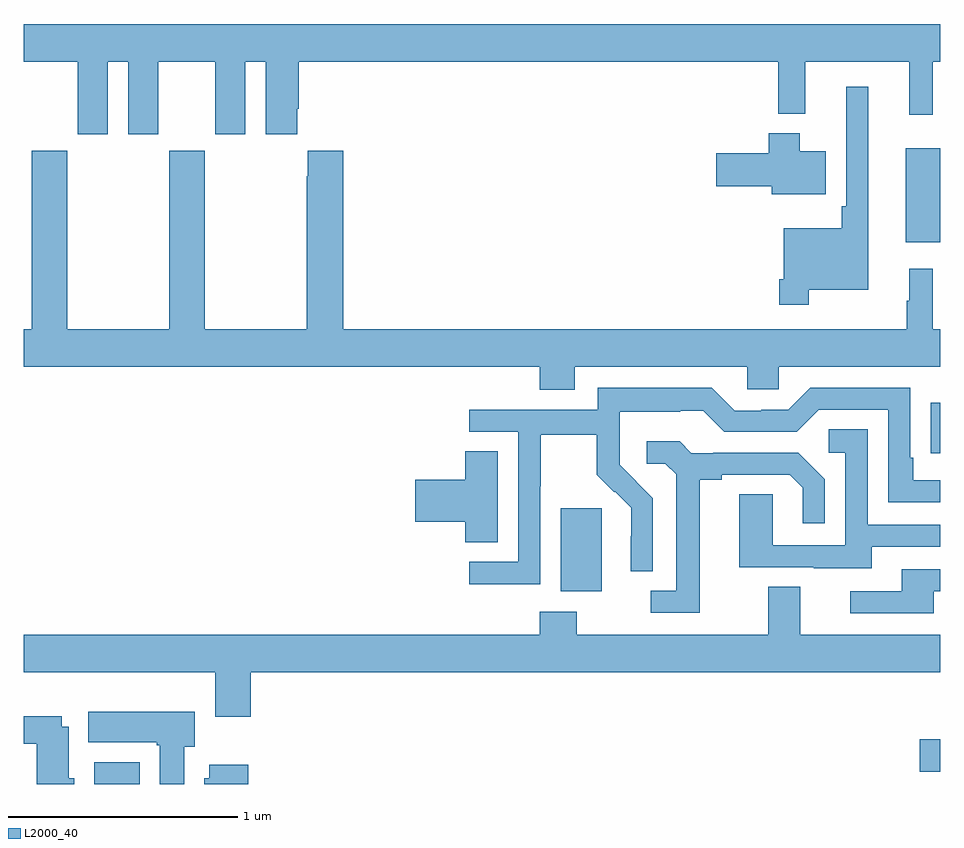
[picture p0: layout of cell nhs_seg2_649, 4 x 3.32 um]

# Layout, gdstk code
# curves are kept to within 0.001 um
import gdstk
lib = gdstk.Library(unit=1e-6, precision=1e-09)
def R(c, l, rs):  # rectangles x0, y0, x1, y1
    for r in rs: c.add(gdstk.rectangle(r[:2], r[2:], *l))
def P(c, l, *ps):  # polygons
    for p in ps: c.add(gdstk.Polygon(p, *l))
L2000_40 = (2000, 40)

nhs_seg2_649 = lib.new_cell('nhs_seg2_649')
R(nhs_seg2_649, L2000_40, [(143.309,661.8,143.506,661.894), (146.91,661.853,147,661.995), (145.343,662.642,145.522,663.003), (146.959,663.244,147,663.463), (146.849,664.163,147,664.573)])
P(nhs_seg2_649, L2000_40, [(143,664.952),(143.237,664.952),(143.237,664.635),(143.368,664.635),(143.368,664.952),(143.456,664.952),(143.456,664.635),(143.587,664.635),(143.587,664.952),(143.837,664.952),(143.837,664.635),(143.968,664.635),(143.968,664.952),(144.056,664.952),(144.056,664.635),(144.193,664.635),(144.193,664.747),(144.2,664.747),(144.2,664.952),(146.293,664.952),(146.293,664.724),(146.411,664.724),(146.411,664.952),(146.864,664.952),(146.864,664.719),(146.966,664.719),(146.966,664.952),(147,664.952),(147,665.116),(143,665.116)],
  [(146.425,663.956),(146.686,663.956),(146.686,664.843),(146.589,664.843),(146.589,664.321),(146.569,664.321),(146.569,664.225),(146.316,664.225),(146.316,664.003),(146.296,664.003),(146.296,663.891),(146.425,663.891)],
  [(146.5,664.561),(146.386,664.561),(146.386,664.639),(146.252,664.639),(146.252,664.551),(146.022,664.551),(146.022,664.409),(146.264,664.409),(146.264,664.373),(146.5,664.373)],
  [(145.405,663.62),(146.157,663.62),(146.157,663.522),(146.295,663.522),(146.295,663.62),(147,663.62),(147,663.784),(146.966,663.784),(146.966,664.048),(146.864,664.048),(146.864,663.908),(146.853,663.908),(146.853,663.784),(144.395,663.784),(144.395,664.564),(144.239,664.564),(144.239,664.451),(144.235,664.451),(144.235,663.784),(143.79,663.784),(143.79,664.564),(143.635,664.564),(143.635,663.784),(143.19,663.784),(143.19,664.564),(143.035,664.564),(143.035,663.784),(143,663.784),(143,663.62),(145.253,663.62),(145.253,663.521),(145.405,663.521)],
  [(145.254,663.1),(145.257,663.1),(145.257,663.324),(145.501,663.324),(145.501,663.149),(145.578,663.072),(145.581,663.075),(145.652,663.005),(145.652,662.882),(145.65,662.882),(145.65,662.728),(145.746,662.728),(145.746,663.046),(145.6,663.194),(145.6,663.291),(145.602,663.291),(145.602,663.425),(145.865,663.425),(145.865,663.429),(145.965,663.429),(146.058,663.336),(146.373,663.336),(146.469,663.432),(146.772,663.432),(146.772,663.03),(147,663.03),(147,663.126),(146.881,663.126),(146.881,663.223),(146.868,663.223),(146.868,663.528),(146.433,663.528),(146.337,663.432),(146.219,663.432),(146.219,663.429),(146.103,663.429),(146.003,663.529),(145.506,663.529),(145.506,663.432),(144.945,663.432),(144.945,663.336),(145.158,663.336),(145.158,662.769),(144.945,662.769),(144.945,662.671),(145.254,662.671)],
  [(146.701,662.835),(147,662.835),(147,662.931),(146.682,662.931),(146.682,663.347),(146.514,663.347),(146.514,663.246),(146.586,663.246),(146.586,662.841),(146.268,662.841),(146.268,663.065),(146.123,663.065),(146.123,662.745),(146.447,662.745),(146.447,662.741),(146.701,662.741)],
  [(145.951,663.128),(146.047,663.128),(146.047,663.15),(146.342,663.15),(146.399,663.093),(146.399,662.937),(146.496,662.937),(146.496,663.13),(146.38,663.246),(146.008,663.246),(146.008,663.243),(145.914,663.243),(145.862,663.295),(145.719,663.295),(145.719,663.198),(145.8,663.198),(145.847,663.151),(145.847,662.643),(145.737,662.643),(145.737,662.547),(145.951,662.547)],
  [(145.069,663.251),(144.926,663.251),(144.926,663.128),(144.708,663.128),(144.708,662.945),(144.926,662.945),(144.926,662.854),(145.069,662.854)],
  [(146.971,662.64),(147,662.64),(147,662.736),(146.831,662.736),(146.831,662.64),(146.607,662.64),(146.607,662.544),(146.971,662.544)],
  [(143.99,662.288),(147,662.288),(147,662.452),(146.389,662.452),(146.389,662.66),(146.249,662.66),(146.249,662.452),(145.413,662.452),(145.413,662.551),(145.253,662.551),(145.253,662.452),(143,662.452),(143,662.288),(143.837,662.288),(143.837,662.094),(143.99,662.094)],
  [(143.701,661.962),(143.746,661.962),(143.746,662.116),(143.282,662.116),(143.282,661.982),(143.581,661.982),(143.581,661.969),(143.594,661.969),(143.594,661.8),(143.701,661.8)],
  [(143.221,661.824),(143.197,661.824),(143.197,662.05),(143.167,662.05),(143.167,662.095),(143,662.095),(143,661.976),(143.057,661.976),(143.057,661.8),(143.221,661.8)],
  [(143.981,661.885),(143.81,661.885),(143.81,661.824),(143.789,661.824),(143.789,661.8),(143.981,661.8)])

lib.write_gds('nhs_seg2_649.gds')
